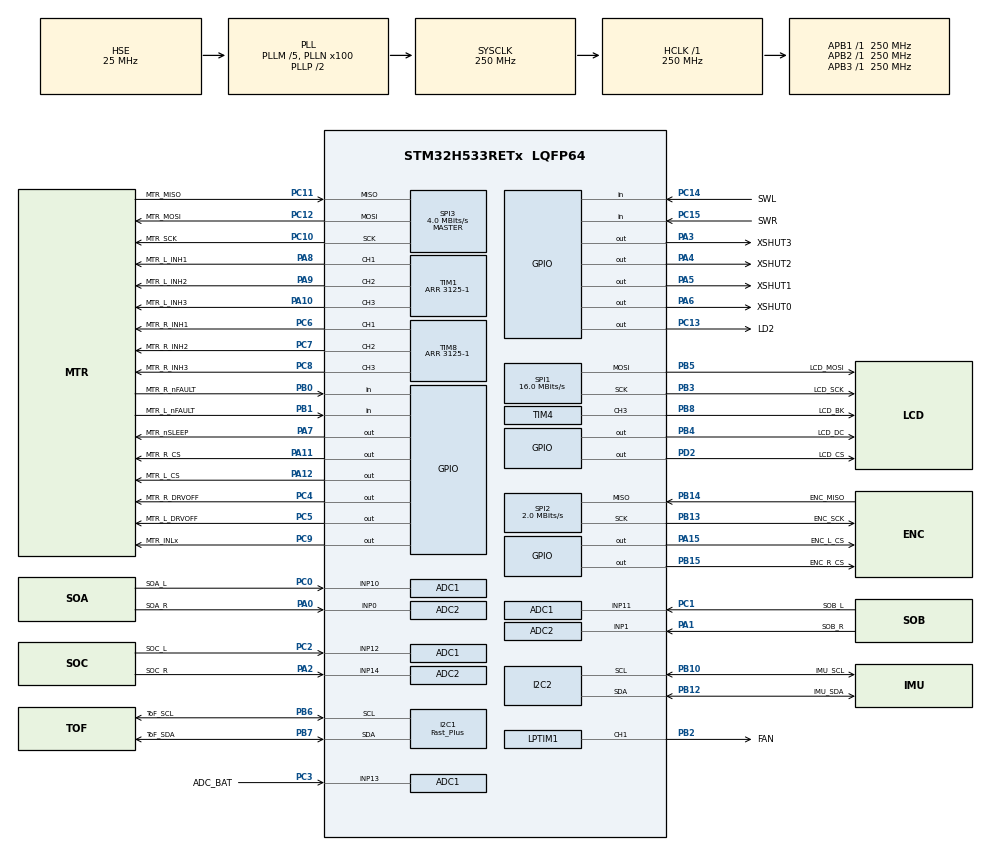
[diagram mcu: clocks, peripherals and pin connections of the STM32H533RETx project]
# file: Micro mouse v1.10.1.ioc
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ADC1.Channel-10\#ChannelRegularConversion=ADC_CHANNEL_12
ADC1.Channel-7\#ChannelRegularConversion=ADC_CHANNEL_13
ADC1.Channel-8\#ChannelRegularConversion=ADC_CHANNEL_10
ADC1.Channel-9\#ChannelRegularConversion=ADC_CHANNEL_11
ADC1.ClockPrescaler=ADC_CLOCK_ASYNC_DIV4
ADC1.ContinuousConvMode=DISABLE
ADC1.DMAContinuousRequests=ENABLE
ADC1.EOCSelection=ADC_EOC_SEQ_CONV
ADC1.ExternalTrigConv=ADC_EXTERNALTRIG_T1_TRGO2
ADC1.MonitoredBy-10\#ChannelRegularConversion=__NULL
ADC1.MonitoredBy-7\#ChannelRegularConversion=__NULL
ADC1.MonitoredBy-8\#ChannelRegularConversion=__NULL
ADC1.MonitoredBy-9\#ChannelRegularConversion=__NULL
ADC1.NbrOfConversion=4
ADC1.NbrOfConversionFlag=1
ADC1.OffsetNumber-10\#ChannelRegularConversion=ADC_OFFSET_NONE
ADC1.OffsetNumber-7\#ChannelRegularConversion=ADC_OFFSET_NONE
ADC1.OffsetNumber-8\#ChannelRegularConversion=ADC_OFFSET_NONE
ADC1.OffsetNumber-9\#ChannelRegularConversion=ADC_OFFSET_NONE
ADC1.Rank-10\#ChannelRegularConversion=4
ADC1.Rank-7\#ChannelRegularConversion=1
ADC1.Rank-8\#ChannelRegularConversion=2
ADC1.Rank-9\#ChannelRegularConversion=3
ADC1.SamplingTime-10\#ChannelRegularConversion=ADC_SAMPLETIME_12CYCLES_5
ADC1.SamplingTime-7\#ChannelRegularConversion=ADC_SAMPLETIME_12CYCLES_5
ADC1.SamplingTime-8\#ChannelRegularConversion=ADC_SAMPLETIME_6CYCLES_5
ADC1.SamplingTime-9\#ChannelRegularConversion=ADC_SAMPLETIME_12CYCLES_5
ADC1.master=1
ADC2.Channel-0\#ChannelRegularConversion=ADC_CHANNEL_13
ADC2.Channel-1\#ChannelRegularConversion=ADC_CHANNEL_0
ADC2.Channel-2\#ChannelRegularConversion=ADC_CHANNEL_1
ADC2.Channel-3\#ChannelRegularConversion=ADC_CHANNEL_14
ADC2.ClockPrescaler=ADC_CLOCK_ASYNC_DIV4
ADC2.DMAContinuousRequests=ENABLE
ADC2.EOCSelection=ADC_EOC_SEQ_CONV
ADC2.ExternalTrigConv=ADC_EXTERNALTRIG_T8_TRGO2
ADC2.MonitoredBy-0\#ChannelRegularConversion=__NULL
ADC2.MonitoredBy-1\#ChannelRegularConversion=__NULL
ADC2.MonitoredBy-2\#ChannelRegularConversion=__NULL
ADC2.MonitoredBy-3\#ChannelRegularConversion=__NULL
ADC2.NbrOfConversion=4
ADC2.NbrOfConversionFlag=1
ADC2.OffsetNumber-0\#ChannelRegularConversion=ADC_OFFSET_NONE
ADC2.OffsetNumber-1\#ChannelRegularConversion=ADC_OFFSET_NONE
ADC2.OffsetNumber-2\#ChannelRegularConversion=ADC_OFFSET_NONE
ADC2.OffsetNumber-3\#ChannelRegularConversion=ADC_OFFSET_NONE
ADC2.Rank-0\#ChannelRegularConversion=1
ADC2.Rank-1\#ChannelRegularConversion=2
ADC2.Rank-2\#ChannelRegularConversion=3
ADC2.Rank-3\#ChannelRegularConversion=4
ADC2.SamplingTime-0\#ChannelRegularConversion=ADC_SAMPLETIME_12CYCLES_5
ADC2.SamplingTime-1\#ChannelRegularConversion=ADC_SAMPLETIME_12CYCLES_5
ADC2.SamplingTime-2\#ChannelRegularConversion=ADC_SAMPLETIME_12CYCLES_5
ADC2.SamplingTime-3\#ChannelRegularConversion=ADC_SAMPLETIME_12CYCLES_5
BOOTPATH.BootPathName=LEGACY
BOOTPATH.UserSelectedBootPath=LEGACY
CORTEX_M33_NS.userName=CORTEX_M33
GPDMA1.CIRCULARMODE_GPDMACH0=ENABLE
GPDMA1.CIRCULARMODE_GPDMACH1=ENABLE
GPDMA1.DESTDATAWIDTH_GPDMACH0=DMA_DEST_DATAWIDTH_HALFWORD
GPDMA1.DESTDATAWIDTH_GPDMACH1=DMA_DEST_DATAWIDTH_HALFWORD
GPDMA1.DESTINC_GPDMACH0=DMA_DINC_INCREMENTED
GPDMA1.DESTINC_GPDMACH1=DMA_DINC_INCREMENTED
GPDMA1.IPHANDLE_GPDMACH0-SIMPLEREQUEST_GPDMACH0=__NULL
GPDMA1.IPHANDLE_GPDMACH1-SIMPLEREQUEST_GPDMACH1=__NULL
GPDMA1.LINKALLOCATEDPORT_CIRCULAR_GPDMACH1=DMA_LINK_ALLOCATED_PORT1
GPDMA1.REQUEST_GPDMACH0=GPDMA1_REQUEST_ADC1
GPDMA1.REQUEST_GPDMACH1=GPDMA1_REQUEST_ADC2
GPDMA1.SRCDATAWIDTH_GPDMACH0=DMA_SRC_DATAWIDTH_HALFWORD
GPDMA1.SRCDATAWIDTH_GPDMACH1=DMA_SRC_DATAWIDTH_HALFWORD
GPDMA1.TRANSFERALLOCATEDPORTDEST_GPDMACH1=DMA_DEST_ALLOCATED_PORT1
GPDMA1.TRANSFERALLOCATEDPORTSRC_GPDMACH1=DMA_SRC_ALLOCATED_PORT1
GPDMA2.DIRECTION_GPDMACH0=DMA_MEMORY_TO_PERIPH
GPDMA2.IPHANDLE_GPDMACH0-SIMPLEREQUEST_GPDMACH0=__NULL
GPDMA2.REQUEST_GPDMACH0=GPDMA2_REQUEST_SPI1_TX
GPDMA2.SRCINC_GPDMACH0=DMA_SINC_INCREMENTED
I2C1.I2C_Speed_Mode=I2C_Fast_Plus
I2C1.Timing=0x00C035A6
I2C2.Timing=0x60808CD3
LPTIM1.ClockPrescaler=LPTIM_PRESCALER_DIV64
LPTIM1.Period=1000-1
Mcu.Family=STM32H5
Mcu.Name=STM32H533RETx
Mcu.Package=LQFP64
NVIC.ADC1_IRQn=true\:0\:0\:false\:false\:true\:true\:true\:true
NVIC.ADC2_IRQn=true\:0\:0\:false\:false\:true\:true\:true\:true
NVIC.GPDMA1_Channel0_IRQn=true\:0\:0\:false\:false\:true\:true\:true\:true
NVIC.GPDMA1_Channel1_IRQn=true\:0\:0\:false\:false\:true\:true\:true\:true
NVIC.GPDMA2_Channel0_IRQn=true\:5\:0\:true\:false\:true\:true\:true\:true
NVIC.PriorityGroup=NVIC_PRIORITYGROUP_4
NVIC.SPI1_IRQn=true\:5\:0\:true\:false\:true\:true\:true\:true
NVIC.TIM3_IRQn=true\:0\:0\:false\:false\:true\:true\:true\:true
NVIC.TIM4_IRQn=true\:5\:0\:true\:false\:true\:true\:true\:true
NVIC.TIM6_IRQn=true\:0\:0\:false\:false\:true\:true\:true\:true
NVIC.TIM7_IRQn=true\:0\:0\:false\:false\:true\:true\:true\:true
PA0.GPIO_Label=SOA_R
PA0.Signal=ADCx_INP0
PA1.GPIO_Label=SOB_R
PA1.Signal=ADCx_INP1
PA10.GPIO_Label=MTR_L_INH3
PA10.Signal=S_TIM1_CH3
PA11.GPIO_Label=MTR_R_CS
PA11.Signal=GPIO_Output
PA12.GPIO_Label=MTR_L_CS
PA12.Signal=GPIO_Output
PA13(JTMS/SWDIO).Mode=Serial_Wire
PA13(JTMS/SWDIO).Signal=DEBUG_JTMS-SWDIO
PA14(JTCK/SWCLK).Mode=Serial_Wire
PA14(JTCK/SWCLK).Signal=DEBUG_JTCK-SWCLK
PA15(JTDI).GPIO_Label=ENC_L_CS
PA15(JTDI).GPIO_PuPd=GPIO_PULLUP
PA15(JTDI).Signal=GPIO_Output
PA2.GPIO_Label=SOC_R
PA2.Signal=ADCx_INP14
PA3.GPIO_Label=XSHUT3
PA3.Signal=GPIO_Output
PA4.GPIO_Label=XSHUT2
PA4.Signal=GPIO_Output
PA5.GPIO_Label=XSHUT1
PA5.Signal=GPIO_Output
PA6.GPIO_Label=XSHUT0
PA6.Signal=GPIO_Output
PA7.GPIO_Label=MTR_nSLEEP
PA7.Signal=GPIO_Output
PA8.GPIO_Label=MTR_L_INH1
PA8.Signal=S_TIM1_CH1
PA9.GPIO_Label=MTR_L_INH2
PA9.Signal=S_TIM1_CH2
PB0.GPIO_Label=MTR_R_nFAULT
PB0.Signal=GPIO_Input
PB1.GPIO_Label=MTR_L_nFAULT
PB1.Signal=GPIO_Input
PB10.GPIO_Label=IMU_SCL
PB10.GPIO_Speed=GPIO_SPEED_FREQ_VERY_HIGH
PB10.Mode=I2C
PB10.Signal=I2C2_SCL
PB12.GPIO_Label=IMU_SDA
PB12.GPIO_Speed=GPIO_SPEED_FREQ_VERY_HIGH
PB12.Mode=I2C
PB12.Signal=I2C2_SDA
PB13.GPIO_Label=ENC_SCK
PB13.Mode=RX_Only_Simplex_Unidirect_Master
PB13.Signal=SPI2_SCK
PB14.GPIO_Label=ENC_MISO
PB14.GPIO_PuPd=GPIO_PULLUP
PB14.Mode=RX_Only_Simplex_Unidirect_Master
PB14.Signal=SPI2_MISO
PB15.GPIO_Label=ENC_R_CS
PB15.GPIO_PuPd=GPIO_PULLUP
PB15.Signal=GPIO_Output
PB2.GPIO_Label=FAN
PB2.Signal=S_LPTIM1_CH1
PB3(JTDO/TRACESWO).GPIO_Label=LCD_SCK
PB3(JTDO/TRACESWO).Mode=TX_Only_Simplex_Unidirect_Master
PB3(JTDO/TRACESWO).Signal=SPI1_SCK
PB4(NJTRST).GPIO_Label=LCD_DC
PB4(NJTRST).Signal=GPIO_Output
PB5.GPIO_Label=LCD_MOSI
PB5.Mode=TX_Only_Simplex_Unidirect_Master
PB5.Signal=SPI1_MOSI
PB6.GPIO_Label=ToF_SCL
PB6.Mode=I2C
PB6.Signal=I2C1_SCL
PB7.GPIO_Label=ToF_SDA
PB7.Mode=I2C
PB7.Signal=I2C1_SDA
PB8.GPIO_Label=LCD_BK
PB8.Signal=S_TIM4_CH3
PC0.GPIO_Label=SOA_L
PC0.Signal=ADCx_INP10
PC1.GPIO_Label=SOB_L
PC1.Signal=ADCx_INP11
PC10.GPIO_Label=MTR_SCK
PC10.Mode=Full_Duplex_Master
PC10.Signal=SPI3_SCK
PC11.GPIO_Label=MTR_MISO
PC11.Mode=Full_Duplex_Master
PC11.Signal=SPI3_MISO
PC12.GPIO_Label=MTR_MOSI
PC12.Mode=Full_Duplex_Master
PC12.Signal=SPI3_MOSI
PC13.GPIO_Label=LD2
PC13.Signal=GPIO_Output
PC14-OSC32_IN(OSC32_IN).GPIO_Label=SWL
PC14-OSC32_IN(OSC32_IN).Signal=GPIO_Input
PC15-OSC32_OUT(OSC32_OUT).GPIO_Label=SWR
PC15-OSC32_OUT(OSC32_OUT).Signal=GPIO_Input
PC2.GPIO_Label=SOC_L
PC2.Signal=ADCx_INP12
PC3.GPIO_Label=ADC_BAT
PC3.Signal=ADCx_INP13
PC4.GPIO_Label=MTR_R_DRVOFF
PC4.Signal=GPIO_Output
PC5.GPIO_Label=MTR_L_DRVOFF
PC5.Signal=GPIO_Output
PC6.GPIO_Label=MTR_R_INH1
PC6.Signal=S_TIM8_CH1
PC7.GPIO_Label=MTR_R_INH2
PC7.Signal=S_TIM8_CH2
PC8.GPIO_Label=MTR_R_INH3
PC8.Signal=S_TIM8_CH3
PC9.GPIO_Label=MTR_INLx
PC9.Signal=GPIO_Output
PD2.GPIO_Label=LCD_CS
PD2.Signal=GPIO_Output
PH0-OSC_IN(PH0).Mode=HSE-External-Oscillator
PH0-OSC_IN(PH0).Signal=RCC_OSC_IN
PH1-OSC_OUT(PH1).Mode=HSE-External-Oscillator
PH1-OSC_OUT(PH1).Signal=RCC_OSC_OUT
ProjectManager.HeapSize=0x200
ProjectManager.StackSize=0x400
ProjectManager.TargetToolchain=STM32CubeIDE
RCC.ADCCLockSelection=RCC_ADCDACCLKSOURCE_PLL2R
RCC.ADCFreq_Value=64000000
RCC.AHBFreq_Value=250000000
RCC.APB1Freq_Value=250000000
RCC.APB1TimFreq_Value=250000000
RCC.APB2Freq_Value=250000000
RCC.APB2TimFreq_Value=250000000
RCC.APB3Freq_Value=250000000
RCC.CSI_VALUE=4000000
RCC.CortexFreq_Value=250000000
RCC.EPOD_VALUE=25000000
RCC.HCLKFreq_Value=250000000
RCC.HSE_VALUE=25000000
RCC.HSI48_VALUE=48000000
RCC.HSI_VALUE=64000000
RCC.LPTIM1CLockSelection=RCC_LPTIM1CLKSOURCE_PLL2P
RCC.LPTIM2CLockSelection=RCC_LPTIM2CLKSOURCE_PLL2P
RCC.LSE_VALUE=32768
RCC.LSIRC_VALUE=32000
RCC.PLL1Q=3
RCC.PLL2M=5
RCC.PLL2N=64
RCC.PLL2P=5
RCC.PLL2R=5
RCC.PLL2Source=RCC_PLL2_SOURCE_HSE
RCC.PLLFRACN=0
RCC.PLLM=5
RCC.PLLN=100
RCC.PLLSourceVirtual=RCC_PLL1_SOURCE_HSE
RCC.SPI1CLockSelection=RCC_SPI1CLKSOURCE_CLKP
RCC.SPI2CLockSelection=RCC_SPI2CLKSOURCE_CLKP
RCC.SPI3CLockSelection=RCC_SPI3CLKSOURCE_CLKP
RCC.SYSCLKFreq_VALUE=250000000
RCC.SYSCLKSource=RCC_SYSCLKSOURCE_PLLCLK
RCC.USBFreq_Value=48000000
RCC.VCOOutputFreq_Value=500000000
SH.ADCx_INP0.0=ADC2_INP0,IN0-Single-Ended
SH.ADCx_INP1.0=ADC2_INP1,IN1-Single-Ended
SH.ADCx_INP10.0=ADC1_INP10,IN10-Single-Ended
SH.ADCx_INP11.0=ADC1_INP11,IN11-Single-Ended
SH.ADCx_INP12.0=ADC1_INP12,IN12-Single-Ended
SH.ADCx_INP13.0=ADC1_INP13,IN13-Single-Ended
SH.ADCx_INP13.1=ADC2_INP13,IN13-Single-Ended
SH.ADCx_INP14.0=ADC2_INP14,IN14-Single-Ended
SH.S_LPTIM1_CH1.0=LPTIM1_CH1,OutputIO_CH1
SH.S_TIM1_CH1.0=TIM1_CH1,PWM Generation1 CH1
SH.S_TIM1_CH2.0=TIM1_CH2,PWM Generation2 CH2
SH.S_TIM1_CH3.0=TIM1_CH3,PWM Generation3 CH3
SH.S_TIM4_CH3.0=TIM4_CH3,PWM Generation3 CH3
SH.S_TIM8_CH1.0=TIM8_CH1,PWM Generation1 CH1
SH.S_TIM8_CH2.0=TIM8_CH2,PWM Generation2 CH2
SH.S_TIM8_CH3.0=TIM8_CH3,PWM Generation3 CH3
SPI1.CalculateBaudRate=16.0 MBits/s
SPI1.DataSize=SPI_DATASIZE_8BIT
SPI1.Direction=SPI_DIRECTION_2LINES_TXONLY
SPI1.Mode=SPI_MODE_MASTER
SPI1.VirtualType=VM_MASTER
SPI2.BaudRatePrescaler=SPI_BAUDRATEPRESCALER_16
SPI2.CLKPhase=SPI_PHASE_2EDGE
SPI2.CLKPolarity=SPI_POLARITY_LOW
SPI2.CalculateBaudRate=2.0 MBits/s
SPI2.DataSize=SPI_DATASIZE_8BIT
SPI2.Direction=SPI_DIRECTION_2LINES_RXONLY
SPI2.IOSwap=SPI_IO_SWAP_DISABLE
SPI2.Mode=SPI_MODE_MASTER
SPI2.VirtualType=VM_MASTER
SPI3.BaudRatePrescaler=SPI_BAUDRATEPRESCALER_8
SPI3.CLKPhase=SPI_PHASE_2EDGE
SPI3.CalculateBaudRate=4.0 MBits/s
SPI3.DataSize=SPI_DATASIZE_16BIT
SPI3.Direction=SPI_DIRECTION_2LINES
SPI3.Mode=SPI_MODE_MASTER
SPI3.VirtualType=VM_MASTER
TIM1.AutoReloadPreload=TIM_AUTORELOAD_PRELOAD_ENABLE
TIM1.AutomaticOutput=TIM_AUTOMATICOUTPUT_ENABLE
TIM1.Channel-PWM\ Generation1\ CH1=TIM_CHANNEL_1
TIM1.Channel-PWM\ Generation2\ CH2=TIM_CHANNEL_2
TIM1.Channel-PWM\ Generation3\ CH3=TIM_CHANNEL_3
TIM1.CounterMode=TIM_COUNTERMODE_CENTERALIGNED1
TIM1.PeriodNoDither=3125-1
TIM1.RepetitionCounter=1
TIM1.TIM_MasterOutputTrigger=TIM_TRGO_ENABLE
TIM1.TIM_MasterOutputTrigger2=TIM_TRGO2_UPDATE
TIM1.TIM_MasterSlaveMode=TIM_MASTERSLAVEMODE_ENABLE
TIM15.AutoReloadPreload=TIM_AUTORELOAD_PRELOAD_ENABLE
TIM15.AutomaticOutput=TIM_AUTOMATICOUTPUT_ENABLE
TIM15.Channel-PWM\ Generation1\ No\ Output=TIM_CHANNEL_1
TIM15.PeriodNoDither=1000-1
TIM15.Prescaler=250-1
TIM15.PulseNoDither_1=30-1
TIM15.RepetitionCounter=0
TIM15.TIM_MasterOutputTrigger=TIM_TRGO_OC1REF
TIM15.TIM_MasterSlaveMode=TIM_MASTERSLAVEMODE_DISABLE
TIM3.PeriodNoDither=50-1
TIM3.Prescaler=250-1
TIM4.Channel-PWM\ Generation3\ CH3=TIM_CHANNEL_3
TIM4.PeriodNoDither=10000-1
TIM4.Prescaler=0
TIM6.PeriodNoDither=1000-1
TIM6.Prescaler=250-1
TIM7.PeriodNoDither=500-1
TIM7.Prescaler=249
TIM8.AutoReloadPreload=TIM_AUTORELOAD_PRELOAD_ENABLE
TIM8.Channel-PWM\ Generation1\ CH1=TIM_CHANNEL_1
TIM8.Channel-PWM\ Generation2\ CH2=TIM_CHANNEL_2
TIM8.Channel-PWM\ Generation3\ CH3=TIM_CHANNEL_3
TIM8.CounterMode=TIM_COUNTERMODE_CENTERALIGNED1
TIM8.PeriodNoDither=3125-1
TIM8.RepetitionCounter=1
TIM8.TIM_MasterOutputTrigger2=TIM_TRGO2_UPDATE
VP_BOOTPATH_VS_BOOTPATH.Mode=BP_Activate
VP_CORTEX_M33_NS_VS_Hclk.Mode=Hclk_Mode
VP_FLASH_SIG_Activate_FlashIP.Mode=Activate_FlashIP
VP_GPDMA1_VS_GPDMACH0.Mode=SIMPLEREQUEST_GPDMACH0
VP_GPDMA1_VS_GPDMACH1.Mode=SIMPLEREQUEST_GPDMACH1
VP_GPDMA2_VS_GPDMACH0.Mode=SIMPLEREQUEST_GPDMACH0
VP_ICACHE_VS_ENABLE_ICACHE_MEMORY.Mode=Memoryregions
VP_ICACHE_VS_ICACHE.Mode=DefaultMode
VP_LPTIM1_VS_CH1.Mode=Channel_1_Active
VP_LPTIM1_VS_LPTIM_counterModeInternalClock.Mode=Counts__internal_clock_event_00
VP_MEMORYMAP_VS_MEMORYMAP.Mode=CurAppReg
VP_PWR_VS_LPOM.Mode=PowerOptimisation
VP_PWR_VS_SECSignals.Mode=Security/Privilege
VP_TIM12_VS_ClockSourceINT.Mode=Internal
VP_TIM15_VS_ClockSourceINT.Mode=Internal
VP_TIM15_VS_no_output1.Mode=PWM Generation1 No Output
VP_TIM1_VS_ClockSourceINT.Mode=Internal
VP_TIM2_VS_ClockSourceINT.Mode=Internal
VP_TIM3_VS_ClockSourceINT.Mode=Internal
VP_TIM4_VS_ClockSourceINT.Mode=Internal
VP_TIM5_VS_ClockSourceINT.Mode=Internal
VP_TIM6_VS_ClockSourceINT.Mode=Enable_Timer
VP_TIM6_VS_OPM.Mode=OPM_bit
VP_TIM7_VS_ClockSourceINT.Mode=Enable_Timer
VP_TIM7_VS_OPM.Mode=OPM_bit
VP_TIM8_VS_ClockSourceINT.Mode=Internal
VP_TIM8_VS_ClockSourceITR.Mode=TriggerSource_ITR0
VP_TIM8_VS_ControllerModeTrigger.Mode=Trigger Mode
board=custom

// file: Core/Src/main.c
/* USER CODE BEGIN Header */
/**
 ******************************************************************************
 * @file           : main.c
 * @brief          : Main program body
 ******************************************************************************
 * @attention
 *
 * Copyright (c) 2026 STMicroelectronics.
 * All rights reserved.
 *
 * This software is licensed under terms that can be found in the LICENSE file
 * in the root directory of this software component.
 * If no LICENSE file comes with this software, it is provided AS-IS.
 *
 ******************************************************************************
 */
/* USER CODE END Header */
#include "main.h"
#include "adc.h"
#include "flash.h"
#include "gpdma.h"
#include "i2c.h"
#include "icache.h"
#include "lptim.h"
#include "spi.h"
#include "tim.h"
#include "gpio.h"

/* USER CODE BEGIN Includes */
#include "init.h"
#include "menu.h"
#include "error.h"
#include "sensor.h"
#include "vl53l4cx.h"
#include "motor.h"
#include "drive.h"
/* USER CODE END Includes */

void SystemClock_Config(void);
void PeriphCommonClock_Config(void);

/* USER CODE BEGIN 0 */
void delay_us(uint32_t us) {
	// 현재 사이클 카운트 저장
	uint32_t startTick = DWT->CYCCNT;

	// 필요한 사이클 수 계산 (us * (HCLK / 1,000,000))
	// SystemCoreClock은 현재 MCU의 주파수(Hz)를 담고 있습니다.
	uint32_t delayTicks = us * (SystemCoreClock / 1000000);

	// 목표 사이클에 도달할 때까지 대기
	while ((DWT->CYCCNT - startTick) < delayTicks)
		;
}
/* USER CODE END 0 */

int main(void)
{

  /* MCU Configuration--------------------------------------------------------*/

  /* Reset of all peripherals, Initializes the Flash interface and the Systick. */
  HAL_Init();

  /* Configure the system clock */
  SystemClock_Config();

  /* Configure the peripherals common clocks */
  PeriphCommonClock_Config();

  /* Initialize all configured peripherals */
  MX_GPIO_Init();
  MX_GPDMA1_Init();
  MX_GPDMA2_Init();
  MX_ADC1_Init();
  MX_FLASH_Init();
  MX_I2C2_Init();
  MX_ICACHE_Init();
  MX_LPTIM1_Init();
  MX_SPI1_Init();
  MX_SPI2_Init();
  MX_TIM1_Init();
  MX_TIM4_Init();
  MX_TIM8_Init();
  MX_TIM2_Init();
  MX_TIM3_Init();
  MX_TIM5_Init();
  MX_TIM6_Init();
  MX_TIM7_Init();
  MX_TIM15_Init();
  MX_TIM12_Init();
  MX_SPI3_Init();
  MX_I2C1_Init();
  MX_ADC2_Init();
  /* USER CODE BEGIN 2 */
	TRIG_ON;

	MX_User_Init();
	LCD_Printf(0, 0, ST7789_WHITE, ST7789_BLACK, "Hello world!");
	HAL_Delay(1000);
	ST7789_FillScreen(ST7789_BLACK);
	HAL_GPIO_WritePin(MTR_L_DRVOFF_GPIO_Port, MTR_L_DRVOFF_Pin, GPIO_PIN_RESET);
	HAL_GPIO_WritePin(MTR_R_DRVOFF_GPIO_Port, MTR_R_DRVOFF_Pin, GPIO_PIN_RESET);
	HAL_Delay(10);
	TRIG_OFF;

	ADC1_Start();
//	FOC_Start(&focR);
	FOC_Start(&focL);
  /* USER CODE END 2 */

  /* Infinite loop */
  /* USER CODE BEGIN WHILE */

	while (1) {
		static uint16_t step = 0;
//		MT6701_ReadSSI(focL.encoder);
//		MT6701_ReadSSI(focR.encoder);
//		Simple_SVPWM_Control(&focR, step);
		Simple_SVPWM_Control(&focL, 360-step);
//		Show_Current();
		step = (step + 1) % 360;
		delay_us(40);
//		LCD_Printf(0, 1, ST7789_WHITE, ST7789_BLACK, "L: %.3f  ", focL.encoder->motor_elec_angle);

	}
    /* USER CODE END WHILE */

}

void SystemClock_Config(void)
{
  RCC_OscInitTypeDef RCC_OscInitStruct = {0};
  RCC_ClkInitTypeDef RCC_ClkInitStruct = {0};

  /** Configure the main internal regulator output voltage
  */
  __HAL_PWR_VOLTAGESCALING_CONFIG(PWR_REGULATOR_VOLTAGE_SCALE0);

  while(!__HAL_PWR_GET_FLAG(PWR_FLAG_VOSRDY)) {}

  /** Initializes the RCC Oscillators according to the specified parameters
  * in the RCC_OscInitTypeDef structure.
  */
  RCC_OscInitStruct.OscillatorType = RCC_OSCILLATORTYPE_HSI|RCC_OSCILLATORTYPE_HSE;
  RCC_OscInitStruct.HSEState = RCC_HSE_ON;
  RCC_OscInitStruct.HSIState = RCC_HSI_ON;
  RCC_OscInitStruct.HSIDiv = RCC_HSI_DIV2;
  RCC_OscInitStruct.HSICalibrationValue = RCC_HSICALIBRATION_DEFAULT;
  RCC_OscInitStruct.PLL.PLLState = RCC_PLL_ON;
  RCC_OscInitStruct.PLL.PLLSource = RCC_PLL1_SOURCE_HSE;
  RCC_OscInitStruct.PLL.PLLM = 5;
  RCC_OscInitStruct.PLL.PLLN = 100;
  RCC_OscInitStruct.PLL.PLLP = 2;
  RCC_OscInitStruct.PLL.PLLQ = 3;
  RCC_OscInitStruct.PLL.PLLR = 2;
  RCC_OscInitStruct.PLL.PLLRGE = RCC_PLL1_VCIRANGE_2;
  RCC_OscInitStruct.PLL.PLLVCOSEL = RCC_PLL1_VCORANGE_WIDE;
  RCC_OscInitStruct.PLL.PLLFRACN = 0;
  if (HAL_RCC_OscConfig(&RCC_OscInitStruct) != HAL_OK)
  {
    Error_Handler();
  }

  /** Initializes the CPU, AHB and APB buses clocks
  */
  RCC_ClkInitStruct.ClockType = RCC_CLOCKTYPE_HCLK|RCC_CLOCKTYPE_SYSCLK
                              |RCC_CLOCKTYPE_PCLK1|RCC_CLOCKTYPE_PCLK2
                              |RCC_CLOCKTYPE_PCLK3;
  RCC_ClkInitStruct.SYSCLKSource = RCC_SYSCLKSOURCE_PLLCLK;
  RCC_ClkInitStruct.AHBCLKDivider = RCC_SYSCLK_DIV1;
  RCC_ClkInitStruct.APB1CLKDivider = RCC_HCLK_DIV1;
  RCC_ClkInitStruct.APB2CLKDivider = RCC_HCLK_DIV1;
  RCC_ClkInitStruct.APB3CLKDivider = RCC_HCLK_DIV1;

  if (HAL_RCC_ClockConfig(&RCC_ClkInitStruct, FLASH_LATENCY_5) != HAL_OK)
  {
    Error_Handler();
  }

  /** Configure the programming delay
  */
  __HAL_FLASH_SET_PROGRAM_DELAY(FLASH_PROGRAMMING_DELAY_2);
}

void PeriphCommonClock_Config(void)
{
  RCC_PeriphCLKInitTypeDef PeriphClkInitStruct = {0};

  /** Initializes the peripherals clock
  */
  PeriphClkInitStruct.PeriphClockSelection = RCC_PERIPHCLK_CKPER|RCC_PERIPHCLK_ADCDAC
                              |RCC_PERIPHCLK_LPTIM1;
  PeriphClkInitStruct.PLL2.PLL2Source = RCC_PLL2_SOURCE_HSE;
  PeriphClkInitStruct.PLL2.PLL2M = 5;
  PeriphClkInitStruct.PLL2.PLL2N = 64;
  PeriphClkInitStruct.PLL2.PLL2P = 5;
  PeriphClkInitStruct.PLL2.PLL2Q = 2;
  PeriphClkInitStruct.PLL2.PLL2R = 5;
  PeriphClkInitStruct.PLL2.PLL2RGE = RCC_PLL2_VCIRANGE_2;
  PeriphClkInitStruct.PLL2.PLL2VCOSEL = RCC_PLL2_VCORANGE_WIDE;
  PeriphClkInitStruct.PLL2.PLL2FRACN = 0;
  PeriphClkInitStruct.PLL2.PLL2ClockOut = RCC_PLL2_DIVP|RCC_PLL2_DIVR;
  PeriphClkInitStruct.CkperClockSelection = RCC_CLKPSOURCE_HSI;
  PeriphClkInitStruct.Lptim1ClockSelection = RCC_LPTIM1CLKSOURCE_PLL2P;
  PeriphClkInitStruct.AdcDacClockSelection = RCC_ADCDACCLKSOURCE_PLL2R;
  if (HAL_RCCEx_PeriphCLKConfig(&PeriphClkInitStruct) != HAL_OK)
  {
    Error_Handler();
  }
}

void Error_Handler(void)
{
  /* USER CODE BEGIN Error_Handler_Debug */
	/* User can add his own implementation to report the HAL error return state */
//	__disable_irq();
	ST7789_FillScreen(ST7789_RED);
	LCD_Printf(0, 0, ST7789_BLACK, ST7789_RED, error_log);
	while (1) {
		HAL_GPIO_TogglePin(LD2_GPIO_Port, LD2_Pin);
		HAL_Delay(100);
	}
  /* USER CODE END Error_Handler_Debug */
}
